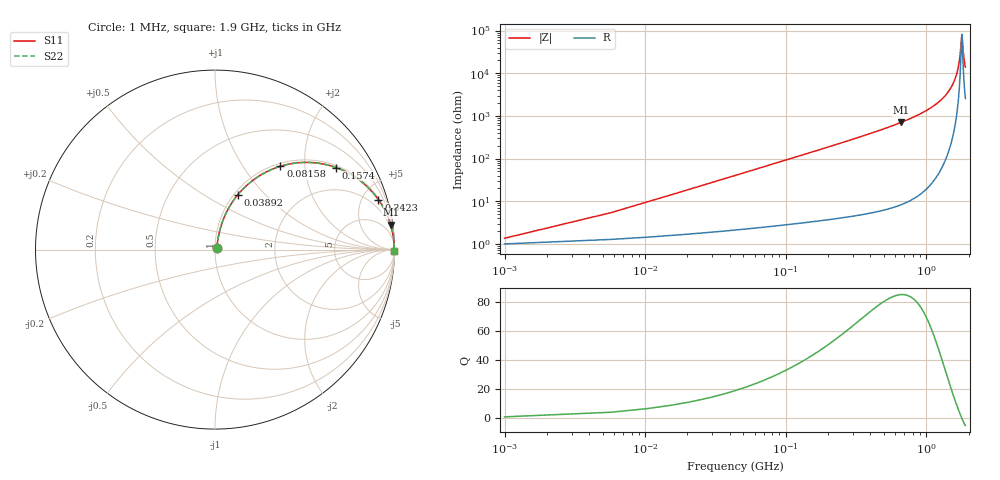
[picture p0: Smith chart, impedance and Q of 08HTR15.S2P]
! Coilcraft 0805HT-R15 Chip Inductor
! 24 June 2002
# MHZ S MA R 50
!Freq  MagS11  AngS11  MagS21  AngS21  MagS12  AngS12  MagS22  AngS22
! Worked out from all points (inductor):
!   402 points, 1 MHz to 1.9 GHz, reference 50 ohm
!   read as one part in series: L = 146 nH near 10.48 MHz
!   highest Q = 85.2 at 664.6 MHz (marker M1), where L = 169 nH
!   self-resonance near 1.788 GHz
!   S11 on the Smith chart (normalised r, x): 1 MHz: 1.02, +0.02; 38.92 MHz: 1.04, +0.71; 81.58 MHz: 1.05, +1.50; 157.4 MHz: 1.07, +2.91; 342.3 MHz: 1.10, +6.52; 1.9 GHz: open
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1  0.01342 42.1  0.9901 -0.5  0.9901 -0.5  0.01342 42.1
15.22  0.137 75.7  0.9753 -7.8  0.9753 -7.8  0.137 75.7
24.7  0.218 72.9  0.959 -12.6  0.959 -12.6  0.218 72.9
38.92  0.3309 67.4  0.925 -19.3  0.925 -19.3  0.3309 67.4
81.58  0.5905 51.9  0.7869 -36.2  0.7869 -36.2  0.5905 51.9
157.42  0.8156 34.1  0.5603 -54.6  0.5603 -54.6  0.8156 34.1
223.78  0.8953 25.4  0.4292 -63.5  0.4292 -63.5  0.8953 25.4
318.58  0.945 18.2  0.3131 -70.9  0.3131 -70.9  0.945 18.2
342.28  0.9521 17.0  0.2921 -72.2  0.2921 -72.2  0.9521 17.0
636.16  0.9873 8.5  0.1479 -80.8  0.1479 -80.8  0.9873 8.5
664.6  0.9885 8.0  0.1398 -81.3  0.1398 -81.3  0.9885 8.0
953.74  0.9956 4.7  0.08158 -84.5  0.08158 -84.5  0.9956 4.7
1271.32  0.9981 2.4  0.04254 -86.2  0.04254 -86.2  0.9981 2.4
1451.44  0.9986 1.5  0.02585 -86.2  0.02585 -86.2  0.9986 1.5
1584.16  0.9988 0.9  0.01509 -85.0  0.01509 -85.0  0.9988 0.9
1655.26  0.9988 0.6  0.009759 -82.8  0.009759 -82.8  0.9988 0.6
1707.4  0.9988 0.3  0.006033 -78.5  0.006033 -78.5  0.9988 0.3
1740.58  0.9988 0.2  0.003773 -71.3  0.003773 -71.3  0.9988 0.2
1783.24  0.9988 0.0  0.001382 -27.5  0.001382 -27.5  0.9988 0.0
1792.72  0.9988 -0.0  0.001233 0.3  0.001233 0.3  0.9988 -0.0
1849.6  0.9987 -0.2  0.004009 71.2  0.004009 71.2  0.9987 -0.2
1900  0.9987 -0.4  0.007189 79.0  0.007189 79.0  0.9987 -0.4
